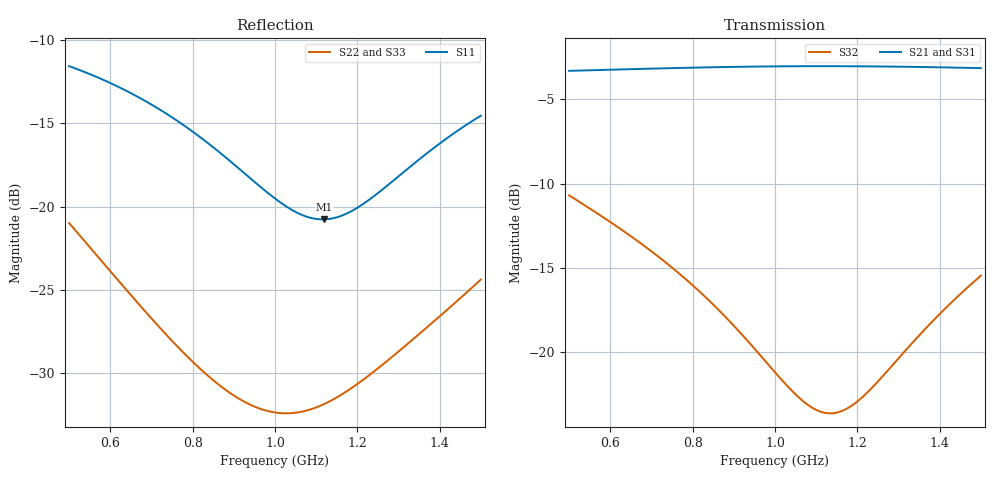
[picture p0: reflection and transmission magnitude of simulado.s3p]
! Created Sat Jul 26 12:50:07 2025
# hz S ma R 50
! 3 Port Network Data from SP1.SP block
! freq  magS11  angS11  magS12  angS12  magS13  angS13
!  magS21  angS21
!  magS22  angS22  magS23  angS23
!  magS31  angS31  magS32  angS32
!  magS33  angS33
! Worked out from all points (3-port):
!   101 points, 500 MHz to 1.5 GHz, reference 50 ohm
!   strongest paths, dB at 500 MHz, 750 MHz, 1 GHz, 1.25 GHz, 1.5 GHz:
!     S21: -3.3, -3.2, -3.1, -3.1, -3.2
!     S31: -3.3, -3.2, -3.1, -3.1, -3.2
!     S32: -10.7, -15.0, -21.2, -21.7, -15.5
!   lowest |S11| = -20.8 dB at 1.12 GHz (marker M1), VSWR 1.20, Z = 51.1 - j9.23 ohm
!   |S11| at or under -10 dB: start of sweep to end of sweep
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5e8  0.264 96.3  0.6818 -73.9  0.6821 -73.9
     0.6818 -73.9  0.08926 35.0  0.2917 -81.7
     0.6821 -73.9  0.2917 -81.7  0.08913 35.1
6.2e8  0.2287 73.7  0.6881 -92.0  0.6883 -92.0
       0.6881 -92.0  0.05992 10.0  0.234 -92.4
       0.6883 -92.0  0.234 -92.4  0.05976 10.1
7.4e8  0.1888 48.6  0.6941 -110.2  0.6943 -110.3
       0.6941 -110.2  0.04077 -14.2  0.1823 -101.5
       0.6943 -110.3  0.1823 -101.5  0.04059 -14.1
8.8e8  0.1406 13.5  0.6999 -131.7  0.7 -131.8
       0.6999 -131.7  0.02819 -40.9  0.1272 -107.6
       0.7 -131.8  0.1272 -107.6  0.02801 -40.6
1e9  0.1058 -26.3  0.703 -150.3  0.7031 -150.4
     0.703 -150.3  0.02411 -59.4  0.08727 -103.6
     0.7031 -150.4  0.08727 -103.6  0.02396 -59.1
1.12e9  0.09159 -78.3  0.704 -168.9  0.704 -169.0
        0.704 -168.9  0.02558 -74.2  0.06622 -81.8
        0.704 -169.0  0.06622 -81.8  0.02547 -73.9
1.19e9  0.09761 -109.5  0.7035 -179.7  0.7035 -179.8
        0.7035 -179.7  0.02878 -83.0  0.07 -64.9
        0.7035 -179.8  0.07 -64.9  0.02871 -82.7
1.3e9  0.1233 -150.5  0.7015 163.3  0.7014 163.1
       0.7015 163.3  0.03675 -98.7  0.09596 -50.4
       0.7014 163.1  0.09596 -50.4  0.03674 -98.6
1.4e9  0.1547 -179.6  0.6985 147.9  0.6983 147.7
       0.6985 147.9  0.04688 -115.2  0.1299 -48.7
       0.6983 147.7  0.1299 -48.7  0.04694 -115.2
1.5e9  0.1875 155.8  0.6945 132.6  0.6942 132.4
       0.6945 132.6  0.06045 -133.7  0.1687 -52.2
       0.6942 132.4  0.1687 -52.2  0.06059 -133.7
